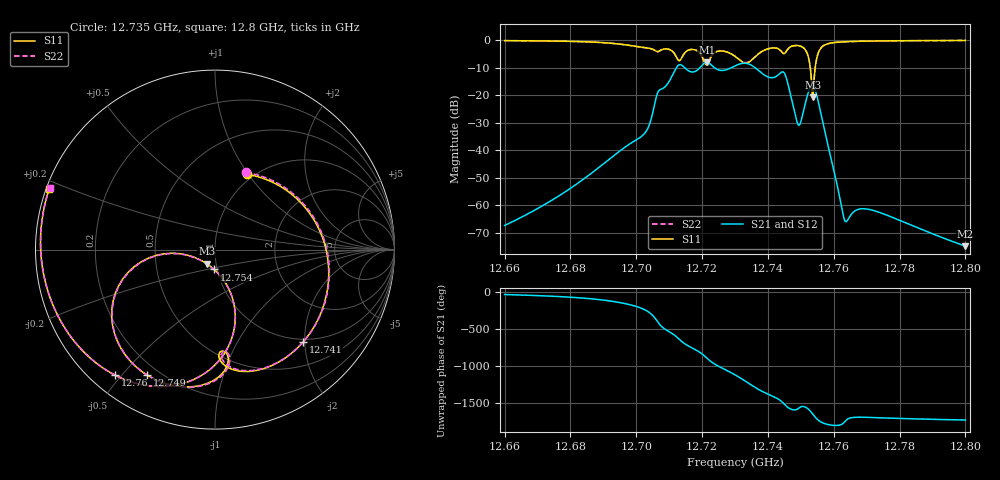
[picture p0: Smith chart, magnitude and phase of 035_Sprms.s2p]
! TOUCHSTONE file generated by CST MICROWAVE STUDIO
! Date and time: Wed Jul 31 12:25:48 2024
! Project name: WaveGuide_BPF-Ver4.1_U-shape_Ku_T3_C4_CWA_2.cst
! Parameters = {cavity_h=16; cavity_l0=10; cavity_l1=15.223; cavity_l2=16.8688; cavity_l3=17.0888; cavity_l4=17.2418; cavity_l5=17.1541; cavity_l6=17.6029; cavity_r=2.5; cavity_screw_l=0.5; cavity_screw_r=1.5; cavity_w=8; iris_h00=0; iris_h01=8.8122; iris_h112=0; iris_h12=5.6132; iris_h211=3.6521; i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
! Header version: 2018
! Port assignment regex: !\s*Touchstone port\s*([0-9]+)\s*=\s*(CST MWS port|CST DS port)\s*([0-9]+|Zmin|Zmax)\s*\(\"(.*)\"\)(\s*mode\s*([0-9]+))?.*
! Touchstone port assignment:
! Touchstone port 1 = CST MWS port 1 ("")
! Touchstone port 2 = CST MWS port 2 ("")
# GHz S RI R 50
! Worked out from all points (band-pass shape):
!   5001 points, 12.66 GHz to 12.8 GHz, reference 50 ohm
!   highest |S21| = -8.09 dB at 12.721 GHz (marker M1); lowest = -74.9 dB at 12.8 GHz (marker M2)
!   |S21| within 3 dB of the highest: 12.7117 GHz to 12.71575 GHz (4.048 MHz wide, 0.0318 % of centre); 12.71836 GHz to 12.73717 GHz (18.81 MHz wide, 0.148 % of centre)
!   lowest |S11| = -20.8 dB at 12.754 GHz (marker M3), VSWR 1.20, Z = 45 - j7.1 ohm
!   |S11| at or under -10 dB: 12.75287 GHz to 12.75437 GHz (1.504 MHz wide, 0.0118 % of centre)
!   |S22| runs from -20.8 to -0.1 dB; largest |S21 - S12| = 1e-09
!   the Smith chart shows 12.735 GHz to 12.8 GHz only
!   S11 on the Smith chart (normalised r, x): 12.735 GHz: 0.93, +0.98; 12.741 GHz: 0.94, -1.96; 12.749 GHz: 0.15, -0.58; 12.754 GHz: 0.97, -0.22; 12.76 GHz: 0.07, -0.48; 12.8 GHz: 0.01, +0.18
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12.66  0.4207 0.8811  0.000368 -0.000213  0.000368 -0.000213  0.421 0.8811
12.68335  0.8761 0.3268  0.000652 -0.00271  0.000652 -0.00271  0.875 0.3308
12.69254  0.8078 -0.3318  -0.00372 -0.00638  -0.00372 -0.00638  0.8112 -0.3249
12.699  0.1159 -0.774  -0.0141 -0.000391  -0.0141 -0.000391  0.1235 -0.7724
12.70668  -0.6068 0.1369  0.0738 -0.0893  0.0738 -0.0893  -0.5967 0.1305
12.71138  -0.0473 0.5872  -0.2188 0.1315  -0.2188 0.1315  -0.052 0.5898
12.71572  0.1668 0.6284  0.2793 -0.0158  0.2793 -0.0158  0.1701 0.6307
12.7214  0.3316 0.1223  -0.3857 -0.0806  -0.3857 -0.0806  0.3643 0.1225
12.72541  0.5901 -0.23  0.0969 0.2647  0.0969 0.2647  0.5798 -0.2596
12.73  -0.2117 -0.4606  0.2741 -0.1992  0.2741 -0.1992  -0.2365 -0.4491
12.73546  0.1779 0.4196  -0.3304 0.0558  -0.3304 0.0558  0.1704 0.4297
12.74084  0.4898 -0.5158  0.1424 0.1503  0.1424 0.1503  0.5038 -0.5003
12.74504  0.0537 -0.5682  0.0581 -0.2411  0.0581 -0.2411  0.064 -0.5707
12.74896  -0.3792 -0.6986  -0.024 -0.0199  -0.024 -0.0199  -0.3715 -0.703
12.75335  -0.1415 -0.0341  -0.1469 0.0306  -0.1469 0.0306  -0.1472 -0.0339
12.75363  -0.0464 -0.0782  -0.1326 0.0694  -0.1326 0.0694  -0.0512 -0.076
12.75377  -0.00463 -0.1106  -0.1198 0.0859  -0.1198 0.0859  -0.00872 -0.1077
12.75976  -0.5573 -0.6994  0.00504 4.69e-05  0.00504 4.69e-05  -0.5563 -0.6997
12.7636  -0.7649 -0.5336  0.000245 0.000436  0.000245 0.000436  -0.7649 -0.5332
12.77668  -0.9637 -0.0845  -9.12e-05 0.00063  -9.12e-05 0.00063  -0.9639 -0.0819
12.79994  -0.9227 0.3403  5.38e-05 0.000171  5.38e-05 0.000171  -0.9213 0.3441
12.8  -0.9225 0.341  5.38e-05 0.000171  5.38e-05 0.000171  -0.9211 0.3448
